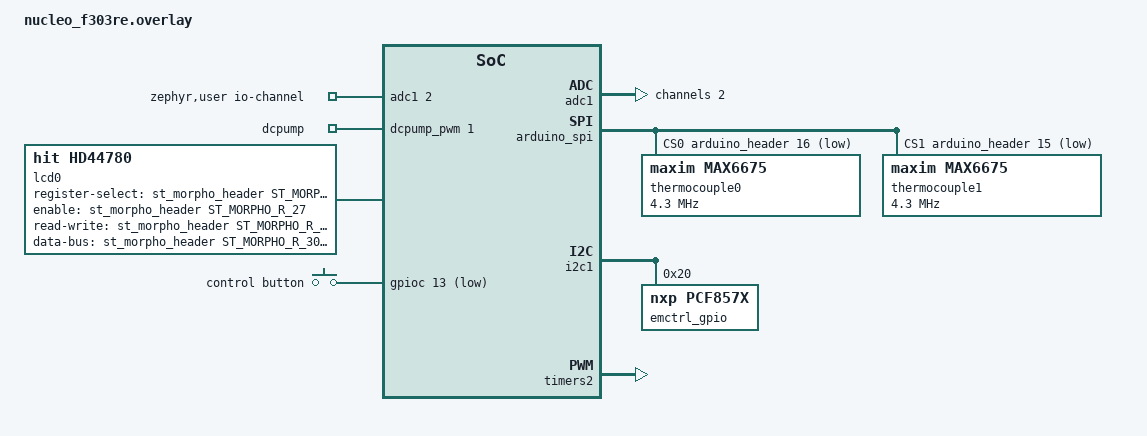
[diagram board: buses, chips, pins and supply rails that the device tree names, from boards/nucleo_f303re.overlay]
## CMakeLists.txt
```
# Copyright (c) 2024, Jan Kuliga.

cmake_minimum_required(VERSION 3.20.0)
find_package(Zephyr REQUIRED HINTS $ENV{ZEPHYR_BASE})
project(sid-lab-automation)

FILE(GLOB app_sources src/*.c)
target_sources(app PRIVATE ${app_sources})
```

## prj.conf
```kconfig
CONFIG_CBPRINTF_FP_SUPPORT=y
CONFIG_SPI=y
CONFIG_SENSOR=y
CONFIG_ADC=y
CONFIG_AUXDISPLAY=y
CONFIG_LOG=y
CONFIG_INPUT=y
CONFIG_INPUT_GPIO_KEYS=y
CONFIG_INPUT_MODE_SYNCHRONOUS=y
CONFIG_COUNTER=y
CONFIG_I2C=y
CONFIG_GPIO_PCF857X=y
CONFIG_PWM=y
```

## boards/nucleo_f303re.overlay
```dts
/*
 * Copyright (c) 2024, Jan Kuliga
 */

/ {
	zephyr,user {
		io-channels = <&adc1 2>; /* CN9 pin A1 */
		pwms = <&dcpump_pwm 1 PWM_NSEC(500) (PWM_POLARITY_NORMAL)>;
		pwm-names = "dcpump";
	};

	lcd0: auxdisplay {
		compatible = "hit,hd44780";
		status = "okay";
		columns = <16>;
		rows = <2>;
		mode = <4>;
		boot-delay-ms = <40>;
		register-select-gpios = <&st_morpho_header ST_MORPHO_R_29 (GPIO_ACTIVE_HIGH)>;
		enable-gpios = <&st_morpho_header ST_MORPHO_R_27 (GPIO_ACTIVE_HIGH)>;
		read-write-gpios = <&st_morpho_header ST_MORPHO_R_25 (GPIO_ACTIVE_HIGH)>;
		data-bus-gpios = <0>, <0>, <0>, <0>,
				 <&st_morpho_header ST_MORPHO_R_30 (GPIO_ACTIVE_HIGH)>,
				 <&st_morpho_header ST_MORPHO_R_28 (GPIO_ACTIVE_HIGH)>,
				 <&st_morpho_header ST_MORPHO_R_26 (GPIO_ACTIVE_HIGH)>,
				 <&st_morpho_header ST_MORPHO_R_24 (GPIO_ACTIVE_HIGH)>;
	};
	gpio_keys {
		status = "okay";
		polling-mode;
		debounce-interval-ms = <50>;
		user_button: button {
			label = "control button";
			gpios = <&gpioc 13 (GPIO_ACTIVE_LOW | GPIO_PULL_UP)>;
			zephyr,code = <INPUT_KEY_0>;
		};
	};
};

&adc1 {
	#address-cells = <1>;
	#size-cells = <0>;


	pressure_sensor0: channel@2 {
		reg = <2>;
		zephyr,gain = "ADC_GAIN_1";
		zephyr,reference = "ADC_REF_INTERNAL";
		zephyr,acquisition-time = <ADC_ACQ_TIME_DEFAULT>;
		zephyr,resolution = <12>;
	};
};

&arduino_spi {
	cs-gpios = <&arduino_header 16 GPIO_ACTIVE_LOW>,/* D10 */
		   <&arduino_header 15 GPIO_ACTIVE_LOW>;/* D9 */
	thermocouple0: max6675@0 {
		compatible = "maxim,max6675";
		reg = <0>;
		spi-max-frequency = <4300000>;
	};
	thermocouple1: max6675@1 {
		compatible = "maxim,max6675";
		reg = <1>;
		spi-max-frequency = <4300000>;
	};
};

&i2c1 {
	/* electromechanics devices control gpio */
	emctrl_gpio: pcf8574@20 {
		status="okay";
		compatible = "nxp,pcf857x";
		reg = <0x20>;
		gpio-controller;
		ngpios = <8>;
		#gpio-cells = <2>;
	};
};

&timers2 {
	status = "okay";
	st,prescaler = <10>;
	dcpump_pwm: pwm {
		status = "okay";
		/*pinctrl-0 = <&tim2_ch2_pb3>;*/
		pinctrl-0 = <&tim2_ch1_pa0>;
		pinctrl-names = "default";
	};
};

/*&pwm2 {
	status = "okay";
	pinctrl-0 = <&tim2_ch2_pb3>;
	pinctrl-names = "default";
}; */
```

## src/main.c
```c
/*
 * Copyright (c) 2024, Jan Kuliga
 */

#include <inttypes.h>
#include <stddef.h>
#include <stdint.h>
#include "platform.h"

LOG_MODULE_REGISTER(sid, LOG_LEVEL_DBG);

static volatile unsigned displayed_info_flag = 0;
static struct sensor_value thrmcpl_vals[2];

int main(void)
{
	int ret = -1;
	uint16_t adc_buf;
	const struct adc_sequence adc_seq = {
		.buffer		= &adc_buf,
		.buffer_size	= sizeof(adc_buf),
		.channels	= BIT(adc_chan2_cfg.channel_id),
		.resolution	= DT_PROP(DT_NODELABEL(pressure_sensor0), zephyr_resolution),
		.calibrate	= true,
	};
	uint8_t lcdbuf[64];

	ret = platform_init();
	if (ret) {
		LOG_ERR("platform_init(): failed with %d\n", ret);
		return ret;
	}

	snprintk(lcdbuf, sizeof(lcdbuf), "Hello world from %s", CONFIG_BOARD);
	(void) auxdisplay_write(lcd_dev, lcdbuf, strlen(lcdbuf));
	k_sleep(K_MSEC(1000));


	while (1) {
		int32_t val_mv = 0;

		for (int i = 0; i < 2; ++i) {
			int ret;
			struct sensor_value val;
			ret = sensor_sample_fetch_chan(thrmcpl_devs[i], SENSOR_CHAN_AMBIENT_TEMP);
			if (ret < 0) {
				LOG_ERR("Could not fetch temperature (%d)\n", ret);
				return 0;
			}
	
			ret = sensor_channel_get(thrmcpl_devs[i], SENSOR_CHAN_AMBIENT_TEMP, &val);
			if (ret < 0) {
				LOG_ERR("Could not get temperature (%d)\n", ret);
				return 0;
			}
			thrmcpl_vals[i] = val;
	
			printf("Temperature%d: %.2f C\n", i, sensor_value_to_double(&val));
		}

		ret = adc_get_mv_reading(adc_dev, &adc_seq, &adc_chan2_cfg, &val_mv);
		if (ret) {
			LOG_ERR(" (value in mV not available)");
		} else {
			LOG_INF("adc reading = %"PRId32" mV", val_mv);
		}
		printf("mp3v5050v: %.2f +- %.2f kPa\n", mp3v5050v_get_pressure(adc_dev, val_mv),
			mp3v5050v_get_pressure_error());

		if (displayed_info_flag == 2) {
			snprintk(lcdbuf, sizeof(lcdbuf), "pressure:%.2f", mp3v5050v_get_pressure(adc_dev, val_mv));
		} else {
			snprintk(lcdbuf, sizeof(lcdbuf), "thrmcpl%d: %.2f", displayed_info_flag, sensor_value_to_double(&thrmcpl_vals[displayed_info_flag]));
		}
		(void) auxdisplay_clear(lcd_dev);
		(void) auxdisplay_cursor_position_set(lcd_dev, AUXDISPLAY_POSITION_ABSOLUTE, 0, 0);
		(void) auxdisplay_write(lcd_dev, lcdbuf, strlen(lcdbuf));


		//ret = gpio_pin_toggle(emctrl_gpio_dev, 0);
		k_sleep(K_MSEC(3000));
	}
	return 0;
}

void button_callback(struct input_event *evt)
{
	if (evt->type != INPUT_EV_KEY || evt->code != INPUT_KEY_0) {
		LOG_ERR("spurious input event");
		return;
	}

	if (evt->value == 0) {
		displayed_info_flag  = (displayed_info_flag + 1) % 3u;
		LOG_INF("button pressed: %u", displayed_info_flag);
	} else {
		LOG_INF("button released");
	}
}
```

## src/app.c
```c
/*
 * Copyright (c) 2024, Jan Kuliga
 */

#include <inttypes.h>
#include <stddef.h>
#include <stdint.h>
#include "platform.h"

LOG_MODULE_REGISTER(sid, LOG_LEVEL_DBG);

enum thrmcpl_id {
	THRMCPL0,
	THRMCPL1,
	THRMCPL2,
};

enum emctrl_id {
	VALVE0	= 0,
	VALVE1	= 1,
	VALVE2	= 2,
	HEATER0	= 7,
};

static volatile unsigned displayed_info_flag = 0;
static struct sensor_value thrmcpl_vals[2];

int main(void)
{
	int ret = -1;
	uint16_t adc_buf;
	const struct adc_sequence adc_seq = {
		.buffer		= &adc_buf,
		.buffer_size	= sizeof(adc_buf),
		.channels	= BIT(adc_chan2_cfg.channel_id),
		.resolution	= DT_PROP(DT_NODELABEL(pressure_sensor0), zephyr_resolution),
		.calibrate	= true,
	};
	uint8_t lcdbuf[64];

	ret = platform_init();
	if (ret) {
		LOG_ERR("platform_init(): failed with %d\n", ret);
		return ret;
	}

	snprintk(lcdbuf, sizeof(lcdbuf), "Hello world from %s", CONFIG_BOARD);
	(void) auxdisplay_write(lcd_dev, lcdbuf, strlen(lcdbuf));
	k_sleep(K_MSEC(1000));

	k_sleep(K_MSEC(2000));
	LOG_WRN("START\n");

	// 1= zamyka
	// 0= otwarty
	// NORMALNIE OTWARTY
	ret = gpio_pin_set(emctrl_gpio_dev, VALVE0, 1);
	k_sleep(K_MSEC(200));
	ret = gpio_pin_set(emctrl_gpio_dev, VALVE1, 0);
	k_sleep(K_MSEC(200));

once_again:

	//while (1) {
	for (int i = 0; i < 60; ++i) {
		int32_t val_mv = 0;

		for (int i = 0; i < 2; ++i) {
			int ret;
			struct sensor_value val;
			ret = sensor_sample_fetch_chan(thrmcpl_devs[i], SENSOR_CHAN_AMBIENT_TEMP);
			if (ret < 0) {
				LOG_WRN("thermocouple%d: Could not fetch temperature (%d)\n", i, ret);
			}
	
			ret = sensor_channel_get(thrmcpl_devs[i], SENSOR_CHAN_AMBIENT_TEMP, &val);
			if (ret < 0) {
				LOG_WRN("thermocouple%d: Could not get temperature (%d)\n", i, ret);
			}
			thrmcpl_vals[i] = val;
	
			printf("Temperature%d: %.2f C\n", i, sensor_value_to_double(&val));
		}

		ret = adc_get_mv_reading(adc_dev, &adc_seq, &adc_chan2_cfg, &val_mv);
		if (ret) {
			LOG_ERR(" (value in mV not available)");
		} else {
			LOG_INF("adc reading = %"PRId32" mV", val_mv);
		}
		printf("mp3v5050v: %.2f +- %.2f kPa\n", mp3v5050v_get_pressure(adc_dev, val_mv),
			mp3v5050v_get_pressure_error());

		if (displayed_info_flag == 2) {
			snprintk(lcdbuf, sizeof(lcdbuf), "pressure:%.2f",
				 mp3v5050v_get_pressure(adc_dev, val_mv));
		} else {
			snprintk(lcdbuf, sizeof(lcdbuf), "thrmcpl%d: %.2f", displayed_info_flag,
				 sensor_value_to_double(&thrmcpl_vals[displayed_info_flag]));
		}
		k_sleep(K_MSEC(2000));
	//	(void) auxdisplay_clear(lcd_dev);
	//	(void) auxdisplay_cursor_position_set(lcd_dev, AUXDISPLAY_POSITION_ABSOLUTE, 0, 0);
	//	(void) auxdisplay_write(lcd_dev, lcdbuf, strlen(lcdbuf));


		//ret = gpio_pin_toggle(emctrl_gpio_dev, VALVE0);
		//k_sleep(K_MSEC(3000));
		//ret = gpio_pin_toggle(emctrl_gpio_dev, VALVE1);
		//k_sleep(K_MSEC(300));
	//	ret = gpio_pin_set(emctrl_gpio_dev, VALVE0, 0);
	//	k_sleep(K_MSEC(2000));
	//`	ret = gpio_pin_toggle(emctrl_gpio_dev, VALVE1);
	//`	k_sleep(K_MSEC(3000));
	}
	ret = gpio_pin_set(emctrl_gpio_dev, VALVE0, 0);
	k_sleep(K_MSEC(200));
	LOG_WRN("finished cycle\n");
	goto once_again;
	LOG_WRN("FINISH\n");
	return 0;
}

void button_callback(struct input_event *evt)
{
	if (evt->type != INPUT_EV_KEY || evt->code != INPUT_KEY_0) {
		LOG_ERR("spurious input event");
		return;
	}

	if (evt->value == 0) {
		displayed_info_flag  = (displayed_info_flag + 1) % 3u;
		LOG_INF("button pressed: %u", displayed_info_flag);
	} else {
		LOG_INF("button released");
	}
}
```

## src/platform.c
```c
#include <inttypes.h>
#include <stddef.h>
#include <stdint.h>
#include <stdio.h>
#include "platform.h"

LOG_MODULE_REGISTER(sid_platform, LOG_LEVEL_DBG);

const struct device *const thrmcpl_devs[] = {DEVICE_DT_GET(DT_NODELABEL(thermocouple0)),
 					    DEVICE_DT_GET(DT_NODELABEL(thermocouple1))};
const struct device *const adc_dev = DEVICE_DT_GET(DT_NODELABEL(adc1));
const struct adc_channel_cfg adc_chan2_cfg =
 			ADC_CHANNEL_CFG_DT(DT_NODELABEL(pressure_sensor0));

const struct device *const lcd_dev = DEVICE_DT_GET(DT_NODELABEL(lcd0));
const struct device *const button_dev = DEVICE_DT_GET(DT_PARENT(DT_NODELABEL(user_button)));
INPUT_CALLBACK_DEFINE(button_dev, button_callback);

const struct device *const rtc_dev = DEVICE_DT_GET(DT_NODELABEL(rtc));

const struct device *const emctrl_gpio_dev = DEVICE_DT_GET(DT_NODELABEL(emctrl_gpio));
const struct pwm_dt_spec dcpump_pwm_dt = PWM_DT_SPEC_GET_BY_NAME(DT_PATH(zephyr_user), dcpump);

static int thermocouples_init(const struct device *const *devs, int ndevs);
static int adc_init(const struct device *const dev, const struct adc_channel_cfg *const chan_cfg);
static int lcd_init(const struct device *const dev);
static int rtc_init(const struct device *const dev);
static int emctrl_gpio_init(const struct device *const dev);

int platform_init(void)
{
	int ret;

	ret = thermocouples_init(thrmcpl_devs, ARRAY_SIZE(thrmcpl_devs));
	if (ret) {
		LOG_ERR("sid-platform: exit %d", ret);
		return 1;
	}

	ret = adc_init(adc_dev, &adc_chan2_cfg);
	if (ret) {
		LOG_ERR("sid-platform: exit %d", ret);
		return 1;
	}

	ret = rtc_init(rtc_dev);
	if (ret) {
		LOG_ERR("sid-platform: exit %d", ret);
		return 1;
	}

	ret = emctrl_gpio_init(emctrl_gpio_dev);
	if (ret) {
		LOG_ERR("sid-platform: exit %d", ret);
		return 1;
	}

	ret = pwm_is_ready_dt(&dcpump_pwm_dt);
	if (!ret) {
		LOG_ERR("sid-platform: exit %d", ret);
		return 1;
	}

	//ret = pwm_set_pulse_dt(&dcpump_pwm_dt, PWM_NSEC(0));
	ret = pwm_set_dt(&dcpump_pwm_dt, PWM_NSEC(1000), PWM_NSEC(1000));
	//ret = pwm_set_dt(&dcpump_pwm_dt, PWM_NSEC(1000), PWM_NSEC(0));
	if (ret) {
		LOG_ERR("sid-platform: exit %d", ret);
		return 1;
	}

	ret = lcd_init(lcd_dev);
	if (ret) {
		LOG_ERR("sid-platform: exit %d", ret);
		return 1;
	}

	return 0;
}

int adc_get_mv_reading(const struct device *const dev, const struct adc_sequence *const seq,
		       const struct adc_channel_cfg *const cfg, int32_t *val_mv)
{
	int ret;
	int32_t val;

	ret = adc_read(dev, seq);
	if (ret) {
		LOG_ERR("failed to read adc sequence: %d", ret);
		return -1;
	}
	val = (int32_t)(*(uint16_t *)seq->buffer);

	ret = adc_raw_to_millivolts(adc_ref_internal(dev), cfg->gain, seq->resolution, &val);
	if (ret) {
		LOG_ERR("failed to convert the adc reading to milivolts: %d", ret);
		return -1;
	}
	*val_mv = val;

	return 0;
}

static int thermocouples_init(const struct device *const *devs, int ndevs)
{
	for (int i = 0; i < ndevs; ++i) {
		if (!device_is_ready(devs[i])) {
			LOG_ERR("thermocouple %d: device is not ready", i);
			return -1;
		}
	}

	return 0;
}

static int adc_init(const struct device *const dev, const struct adc_channel_cfg *const chan_cfg)
{
	if (!device_is_ready(dev)) {
		LOG_ERR("adc: device is not ready");
		return -1;
	}

	if (adc_channel_setup(dev, chan_cfg)) {
		LOG_ERR("adc: could not setup the channel");
		return -1;
	}

	return 0;
}

static int lcd_init(const struct device *const dev)
{
	int ret;

	if (!device_is_ready(dev)) {
		LOG_ERR("lcd: device is not ready");
		return -1;
	}

	ret = auxdisplay_clear(dev);
	if (ret) {
		LOG_WRN("lcd: failed to clear the display");
	}

	return 0;
}

static int rtc_init(const struct device *const dev)
{
	if (!device_is_ready(dev)) {
		LOG_ERR("rtc: device is not ready");
		return -1;
	}

	return 0;
}

static int emctrl_gpio_init(const struct device *const dev)
{
	if (!device_is_ready(dev)) {
		LOG_ERR("emctrl_gpio: device is not ready");
		return -1;
	}

	for (int i = 0; i < 8; ++i) {
		int ret;

		ret = gpio_pin_configure(dev, i, GPIO_OUTPUT | GPIO_OUTPUT_INIT_HIGH);
		if (ret) {
			LOG_ERR("emctrl_gpio: pin configure failed: %d", ret);
		}
	}

	return 0;
}
```

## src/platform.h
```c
#ifndef PLATFORM_H
#define PLATFORM_H

#include <zephyr/device.h>
#include <zephyr/devicetree.h>
#include <zephyr/drivers/adc.h>
#include <zephyr/kernel.h>
#include <zephyr/sys/util.h>
#include <zephyr/drivers/sensor.h>
#include <zephyr/logging/log.h>
#include <zephyr/drivers/auxdisplay.h>
#include <zephyr/input/input.h>
#include <zephyr/drivers/gpio.h>
#include <zephyr/drivers/counter.h>
#include <zephyr/drivers/pwm.h>

/*
 * Variables and functions defined by the platform, to be used by the app.
 */
extern const struct device *const thrmcpl_devs[2];
extern const struct device *const adc_dev;
extern const struct adc_channel_cfg adc_chan2_cfg;
extern const struct device *const lcd_dev;
extern const struct device *const button_dev;
extern const struct device *const rtc_dev;
extern const struct device *const emctrl_gpio_dev;
extern const struct pwm_dt_spec dcpump_pwm_dt;

int platform_init(void);

int adc_get_mv_reading(const struct device *const dev, const struct adc_sequence *const seq,
		       const struct adc_channel_cfg *const cfg, int32_t *val_mv);


static inline double mp3v5050v_get_pressure(const struct device *const adc_dev, int32_t val_mv)
{
	return 56 * ((float)val_mv / adc_ref_internal(adc_dev)) - 52;
}

static inline double mp3v5050v_get_pressure_error(void)
{
	return 1.25f * 1; // TODO: read the temperature to use proper temperature multiplier value
}

/*
 * Functions to be defined by the app.
 */
void button_callback(struct input_event *evt);

#endif /* PLATFORM_H */
```
